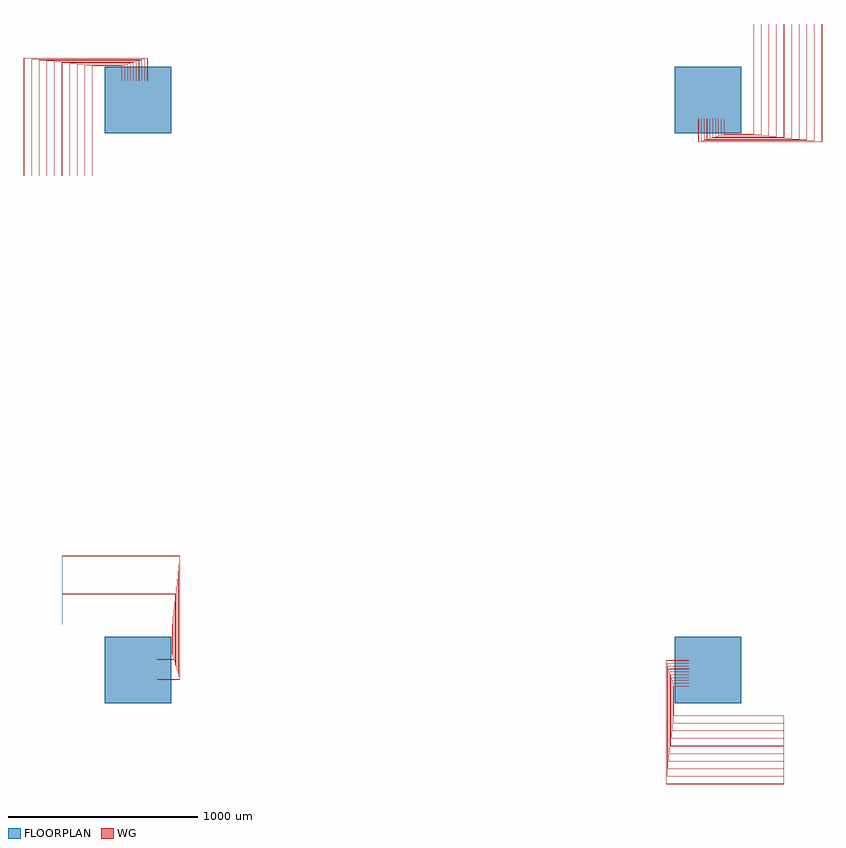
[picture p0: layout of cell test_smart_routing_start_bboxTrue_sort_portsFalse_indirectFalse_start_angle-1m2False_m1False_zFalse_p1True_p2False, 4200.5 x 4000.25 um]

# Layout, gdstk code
import gdstk
lib = gdstk.Library(unit=1e-6, precision=1e-09)
def R(c, l, rs):  # rectangles x0, y0, x1, y1
    for r in rs: c.add(gdstk.rectangle(r[:2], r[2:], *l))
def P(c, l, *ps):  # polygons
    for p in ps: c.add(gdstk.Polygon(p, *l))
WG = (1, 0)
FLOORPLAN = (10, 0)

test_smart_routing_start = lib.new_cell('test_smart_routing_start_bboxTrue_sort_portsFalse_indirectFalse_start_angle-1m2False_m1False_zFalse_p1True_p2False')
P(test_smart_routing_start, WG, [(100,-49.95),(100,-49.75),(219.5,-49.75),(219.5,599.75),(-400,599.75),(-400,599.95),(219.7,599.95),(219.7,-49.95)],
  [(100,-50.25),(100,-50.05),(219.8,-50.05),(219.8,600.05),(-400,600.05),(-400,600.25),(220,600.25),(220,-50.25)],
  [(100,-34.95),(100,-34.75),(215,-34.75),(215,559.75),(-400,559.75),(-400,559.95),(215.2,559.95),(215.2,-34.95)],
  [(100,-35.25),(100,-35.05),(215.3,-35.05),(215.3,560.05),(-400,560.05),(-400,560.25),(215.5,560.25),(215.5,-35.25)],
  [(100,-19.95),(100,-19.75),(210.5,-19.75),(210.5,519.75),(-400,519.75),(-400,519.95),(210.7,519.95),(210.7,-19.95)],
  [(100,-20.25),(100,-20.05),(210.8,-20.05),(210.8,520.05),(-400,520.05),(-400,520.25),(211,520.25),(211,-20.25)],
  [(100,-4.95),(100,-4.75),(206,-4.75),(206,479.75),(-400,479.75),(-400,479.95),(206.2,479.95),(206.2,-4.95)],
  [(100,-5.25),(100,-5.05),(206.3,-5.05),(206.3,480.05),(-400,480.05),(-400,480.25),(206.5,480.25),(206.5,-5.25)],
  [(100,10.05),(100,10.25),(201.5,10.25),(201.5,439.75),(-400,439.75),(-400,439.95),(201.7,439.95),(201.7,10.05)],
  [(100,9.75),(100,9.95),(201.8,9.95),(201.8,440.05),(-400,440.05),(-400,440.25),(202,440.25),(202,9.75)],
  [(100,25.05),(100,25.25),(197,25.25),(197,399.75),(-400,399.75),(-400,399.95),(197.2,399.95),(197.2,25.05)],
  [(100,24.75),(100,24.95),(197.3,24.95),(197.3,400.05),(-400,400.05),(-400,400.25),(197.5,400.25),(197.5,24.75)],
  [(100,40.05),(100,40.25),(192.5,40.25),(192.5,359.75),(-400,359.75),(-400,359.95),(192.7,359.95),(192.7,40.05)],
  [(100,39.75),(100,39.95),(192.8,39.95),(192.8,360.05),(-400,360.05),(-400,360.25),(193,360.25),(193,39.75)],
  [(100,55.05),(100,55.25),(188,55.25),(188,319.75),(-400,319.75),(-400,319.95),(188.2,319.95),(188.2,55.05)],
  [(100,54.75),(100,54.95),(188.3,54.95),(188.3,320.05),(-400,320.05),(-400,320.25),(188.5,320.25),(188.5,54.75)],
  [(100,70.05),(100,70.25),(183.5,70.25),(183.5,279.75),(-400,279.75),(-400,279.95),(183.7,279.95),(183.7,70.05)],
  [(100,69.75),(100,69.95),(183.8,69.95),(183.8,280.05),(-400,280.05),(-400,280.25),(184,280.25),(184,69.75)],
  [(100,85.05),(100,85.25),(179,85.25),(179,239.75),(-400,239.75),(-400,239.95),(179.2,239.95),(179.2,85.05)],
  [(100,84.75),(100,84.95),(179.3,84.95),(179.3,240.05),(-400,240.05),(-400,240.25),(179.5,240.25),(179.5,84.75)],
  [(-599.95,2600),(-599.95,3219.7),(49.95,3219.7),(49.95,3100),(49.75,3100),(49.75,3219.5),(-599.75,3219.5),(-599.75,2600)],
  [(-600.25,2600),(-600.25,3220),(50.25,3220),(50.25,3100),(50.05,3100),(50.05,3219.8),(-600.05,3219.8),(-600.05,2600)],
  [(-559.95,2600),(-559.95,3215.2),(34.95,3215.2),(34.95,3100),(34.75,3100),(34.75,3215),(-559.75,3215),(-559.75,2600)],
  [(-560.25,2600),(-560.25,3215.5),(35.25,3215.5),(35.25,3100),(35.05,3100),(35.05,3215.3),(-560.05,3215.3),(-560.05,2600)],
  [(-519.95,2600),(-519.95,3210.7),(19.95,3210.7),(19.95,3100),(19.75,3100),(19.75,3210.5),(-519.75,3210.5),(-519.75,2600)],
  [(-520.25,2600),(-520.25,3211),(20.25,3211),(20.25,3100),(20.05,3100),(20.05,3210.8),(-520.05,3210.8),(-520.05,2600)],
  [(-479.95,2600),(-479.95,3206.2),(4.95,3206.2),(4.95,3100),(4.75,3100),(4.75,3206),(-479.75,3206),(-479.75,2600)],
  [(-480.25,2600),(-480.25,3206.5),(5.25,3206.5),(5.25,3100),(5.05,3100),(5.05,3206.3),(-480.05,3206.3),(-480.05,2600)],
  [(-439.95,2600),(-439.95,3201.7),(-10.05,3201.7),(-10.05,3100),(-10.25,3100),(-10.25,3201.5),(-439.75,3201.5),(-439.75,2600)],
  [(-440.25,2600),(-440.25,3202),(-9.75,3202),(-9.75,3100),(-9.95,3100),(-9.95,3201.8),(-440.05,3201.8),(-440.05,2600)],
  [(-399.95,2600),(-399.95,3197.2),(-25.05,3197.2),(-25.05,3100),(-25.25,3100),(-25.25,3197),(-399.75,3197),(-399.75,2600)],
  [(-400.25,2600),(-400.25,3197.5),(-24.75,3197.5),(-24.75,3100),(-24.95,3100),(-24.95,3197.3),(-400.05,3197.3),(-400.05,2600)],
  [(-359.95,2600),(-359.95,3192.7),(-40.05,3192.7),(-40.05,3100),(-40.25,3100),(-40.25,3192.5),(-359.75,3192.5),(-359.75,2600)],
  [(-360.25,2600),(-360.25,3193),(-39.75,3193),(-39.75,3100),(-39.95,3100),(-39.95,3192.8),(-360.05,3192.8),(-360.05,2600)],
  [(-319.95,2600),(-319.95,3188.2),(-55.05,3188.2),(-55.05,3100),(-55.25,3100),(-55.25,3188),(-319.75,3188),(-319.75,2600)],
  [(-320.25,2600),(-320.25,3188.5),(-54.75,3188.5),(-54.75,3100),(-54.95,3100),(-54.95,3188.3),(-320.05,3188.3),(-320.05,2600)],
  [(-279.95,2600),(-279.95,3183.7),(-70.05,3183.7),(-70.05,3100),(-70.25,3100),(-70.25,3183.5),(-279.75,3183.5),(-279.75,2600)],
  [(-280.25,2600),(-280.25,3184),(-69.75,3184),(-69.75,3100),(-69.95,3100),(-69.95,3183.8),(-280.05,3183.8),(-280.05,2600)],
  [(-239.95,2600),(-239.95,3179.2),(-85.05,3179.2),(-85.05,3100),(-85.25,3100),(-85.25,3179),(-239.75,3179),(-239.75,2600)],
  [(-240.25,2600),(-240.25,3179.5),(-84.75,3179.5),(-84.75,3100),(-84.95,3100),(-84.95,3179.3),(-240.05,3179.3),(-240.05,2600)],
  [(2780.3,-599.95),(2780.3,49.95),(2900,49.95),(2900,49.75),(2780.5,49.75),(2780.5,-599.75),(3400,-599.75),(3400,-599.95)],
  [(2780,-600.25),(2780,50.25),(2900,50.25),(2900,50.05),(2780.2,50.05),(2780.2,-600.05),(3400,-600.05),(3400,-600.25)],
  [(2784.8,-559.95),(2784.8,34.95),(2900,34.95),(2900,34.75),(2785,34.75),(2785,-559.75),(3400,-559.75),(3400,-559.95)],
  [(2784.5,-560.25),(2784.5,35.25),(2900,35.25),(2900,35.05),(2784.7,35.05),(2784.7,-560.05),(3400,-560.05),(3400,-560.25)],
  [(2789.3,-519.95),(2789.3,19.95),(2900,19.95),(2900,19.75),(2789.5,19.75),(2789.5,-519.75),(3400,-519.75),(3400,-519.95)],
  [(2789,-520.25),(2789,20.25),(2900,20.25),(2900,20.05),(2789.2,20.05),(2789.2,-520.05),(3400,-520.05),(3400,-520.25)],
  [(2793.8,-479.95),(2793.8,4.95),(2900,4.95),(2900,4.75),(2794,4.75),(2794,-479.75),(3400,-479.75),(3400,-479.95)],
  [(2793.5,-480.25),(2793.5,5.25),(2900,5.25),(2900,5.05),(2793.7,5.05),(2793.7,-480.05),(3400,-480.05),(3400,-480.25)],
  [(2798.3,-439.95),(2798.3,-10.05),(2900,-10.05),(2900,-10.25),(2798.5,-10.25),(2798.5,-439.75),(3400,-439.75),(3400,-439.95)],
  [(2798,-440.25),(2798,-9.75),(2900,-9.75),(2900,-9.95),(2798.2,-9.95),(2798.2,-440.05),(3400,-440.05),(3400,-440.25)],
  [(2802.8,-399.95),(2802.8,-25.05),(2900,-25.05),(2900,-25.25),(2803,-25.25),(2803,-399.75),(3400,-399.75),(3400,-399.95)],
  [(2802.5,-400.25),(2802.5,-24.75),(2900,-24.75),(2900,-24.95),(2802.7,-24.95),(2802.7,-400.05),(3400,-400.05),(3400,-400.25)],
  [(2807.3,-359.95),(2807.3,-40.05),(2900,-40.05),(2900,-40.25),(2807.5,-40.25),(2807.5,-359.75),(3400,-359.75),(3400,-359.95)],
  [(2807,-360.25),(2807,-39.75),(2900,-39.75),(2900,-39.95),(2807.2,-39.95),(2807.2,-360.05),(3400,-360.05),(3400,-360.25)],
  [(2811.8,-319.95),(2811.8,-55.05),(2900,-55.05),(2900,-55.25),(2812,-55.25),(2812,-319.75),(3400,-319.75),(3400,-319.95)],
  [(2811.5,-320.25),(2811.5,-54.75),(2900,-54.75),(2900,-54.95),(2811.7,-54.95),(2811.7,-320.05),(3400,-320.05),(3400,-320.25)],
  [(2816.3,-279.95),(2816.3,-70.05),(2900,-70.05),(2900,-70.25),(2816.5,-70.25),(2816.5,-279.75),(3400,-279.75),(3400,-279.95)],
  [(2816,-280.25),(2816,-69.75),(2900,-69.75),(2900,-69.95),(2816.2,-69.95),(2816.2,-280.05),(3400,-280.05),(3400,-280.25)],
  [(2820.8,-239.95),(2820.8,-85.05),(2900,-85.05),(2900,-85.25),(2821,-85.25),(2821,-239.75),(3400,-239.75),(3400,-239.95)],
  [(2820.5,-240.25),(2820.5,-84.75),(2900,-84.75),(2900,-84.95),(2820.7,-84.95),(2820.7,-240.05),(3400,-240.05),(3400,-240.25)],
  [(2950.05,2780.3),(2950.05,2900),(2950.25,2900),(2950.25,2780.5),(3599.75,2780.5),(3599.75,3400),(3599.95,3400),(3599.95,2780.3)],
  [(2949.75,2780),(2949.75,2900),(2949.95,2900),(2949.95,2780.2),(3600.05,2780.2),(3600.05,3400),(3600.25,3400),(3600.25,2780)],
  [(2965.05,2784.8),(2965.05,2900),(2965.25,2900),(2965.25,2785),(3559.75,2785),(3559.75,3400),(3559.95,3400),(3559.95,2784.8)],
  [(2964.75,2784.5),(2964.75,2900),(2964.95,2900),(2964.95,2784.7),(3560.05,2784.7),(3560.05,3400),(3560.25,3400),(3560.25,2784.5)],
  [(2980.05,2789.3),(2980.05,2900),(2980.25,2900),(2980.25,2789.5),(3519.75,2789.5),(3519.75,3400),(3519.95,3400),(3519.95,2789.3)],
  [(2979.75,2789),(2979.75,2900),(2979.95,2900),(2979.95,2789.2),(3520.05,2789.2),(3520.05,3400),(3520.25,3400),(3520.25,2789)],
  [(2995.05,2793.8),(2995.05,2900),(2995.25,2900),(2995.25,2794),(3479.75,2794),(3479.75,3400),(3479.95,3400),(3479.95,2793.8)],
  [(2994.75,2793.5),(2994.75,2900),(2994.95,2900),(2994.95,2793.7),(3480.05,2793.7),(3480.05,3400),(3480.25,3400),(3480.25,2793.5)],
  [(3010.05,2798.3),(3010.05,2900),(3010.25,2900),(3010.25,2798.5),(3439.75,2798.5),(3439.75,3400),(3439.95,3400),(3439.95,2798.3)],
  [(3009.75,2798),(3009.75,2900),(3009.95,2900),(3009.95,2798.2),(3440.05,2798.2),(3440.05,3400),(3440.25,3400),(3440.25,2798)],
  [(3025.05,2802.8),(3025.05,2900),(3025.25,2900),(3025.25,2803),(3399.75,2803),(3399.75,3400),(3399.95,3400),(3399.95,2802.8)],
  [(3024.75,2802.5),(3024.75,2900),(3024.95,2900),(3024.95,2802.7),(3400.05,2802.7),(3400.05,3400),(3400.25,3400),(3400.25,2802.5)],
  [(3040.05,2807.3),(3040.05,2900),(3040.25,2900),(3040.25,2807.5),(3359.75,2807.5),(3359.75,3400),(3359.95,3400),(3359.95,2807.3)],
  [(3039.75,2807),(3039.75,2900),(3039.95,2900),(3039.95,2807.2),(3360.05,2807.2),(3360.05,3400),(3360.25,3400),(3360.25,2807)],
  [(3055.05,2811.8),(3055.05,2900),(3055.25,2900),(3055.25,2812),(3319.75,2812),(3319.75,3400),(3319.95,3400),(3319.95,2811.8)],
  [(3054.75,2811.5),(3054.75,2900),(3054.95,2900),(3054.95,2811.7),(3320.05,2811.7),(3320.05,3400),(3320.25,3400),(3320.25,2811.5)],
  [(3070.05,2816.3),(3070.05,2900),(3070.25,2900),(3070.25,2816.5),(3279.75,2816.5),(3279.75,3400),(3279.95,3400),(3279.95,2816.3)],
  [(3069.75,2816),(3069.75,2900),(3069.95,2900),(3069.95,2816.2),(3280.05,2816.2),(3280.05,3400),(3280.25,3400),(3280.25,2816)],
  [(3085.05,2820.8),(3085.05,2900),(3085.25,2900),(3085.25,2821),(3239.75,2821),(3239.75,3400),(3239.95,3400),(3239.95,2820.8)],
  [(3084.75,2820.5),(3084.75,2900),(3084.95,2900),(3084.95,2820.7),(3240.05,2820.7),(3240.05,3400),(3240.25,3400),(3240.25,2820.5)])
R(test_smart_routing_start, FLOORPLAN, [(-175,-175,175,175), (2825,-175,3175,175), (-175,2825,175,3175), (2825,2825,3175,3175)])
P(test_smart_routing_start, FLOORPLAN, [(-400,240),(-400,600),(-400,600),(-400,240)],
  [(-600,2600),(-600,2600),(-240,2600),(-240,2600)],
  [(3400,-600),(3400,-240),(3400,-240),(3400,-600)],
  [(3240,3400),(3240,3400),(3600,3400),(3600,3400)])

lib.write_gds('test_smart_routing_start_bboxTrue_sort_portsFalse_indirectFalse_start_angle-1m2False_m1False_zFalse_p1True_p2False.gds')
